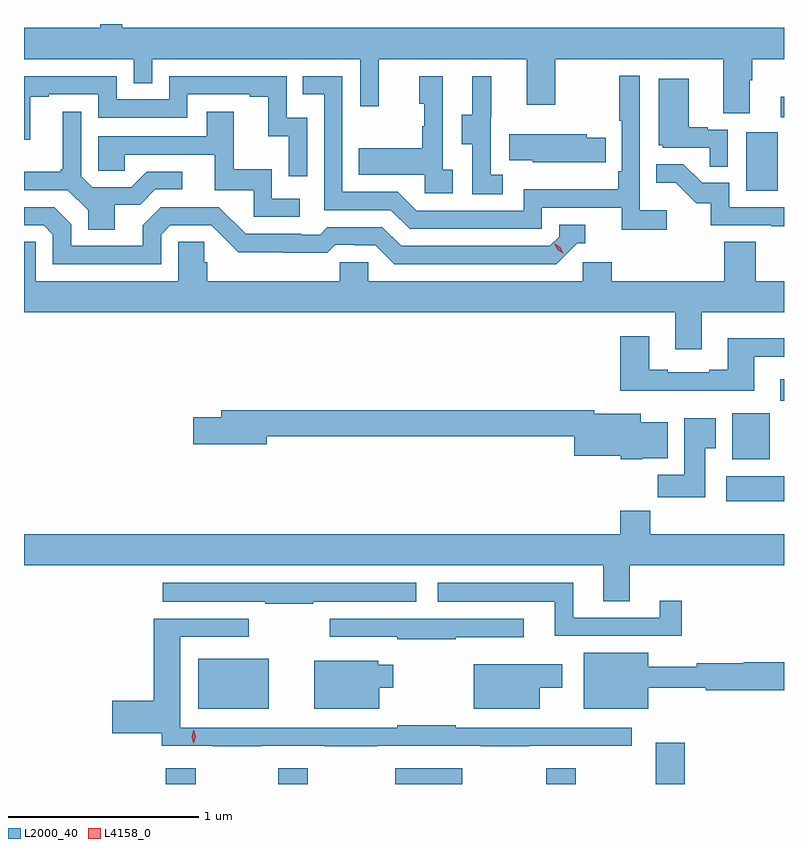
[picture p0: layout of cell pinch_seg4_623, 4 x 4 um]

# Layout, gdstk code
import gdstk
lib = gdstk.Library(unit=1e-6, precision=1e-09)
def R(c, l, rs):  # rectangles x0, y0, x1, y1
    for r in rs: c.add(gdstk.rectangle(r[:2], r[2:], *l))
def P(c, l, *ps):  # polygons
    for p in ps: c.add(gdstk.Polygon(p, *l))
L2000_40 = (2000, 40)
L4158_0 = (4158, 0)

pinch_seg4_623 = lib.new_cell('pinch_seg4_623')
R(pinch_seg4_623, L2000_40, [(1036.097,762.369,1036.257,762.451), (1036.69,762.369,1036.845,762.451), (1037.306,762.369,1037.659,762.451), (1038.1,762.369,1038.255,762.451), (1038.677,762.369,1038.83,762.586), (1036.268,762.764,1036.639,763.027), (1039.047,763.856,1039.352,763.99), (1039.079,764.078,1039.276,764.32), (1039.331,764.387,1039.352,764.5), (1039.154,765.492,1039.318,765.799), (1039.335,765.879,1039.352,765.985)])
P(pinch_seg4_623, L2000_40, [(1039.171,766.072),(1039.184,766.072),(1039.184,766.184),(1039.352,766.184),(1039.352,766.348),(1035.869,766.348),(1035.869,766.369),(1035.752,766.369),(1035.752,766.348),(1035.352,766.348),(1035.352,766.184),(1035.93,766.184),(1035.93,766.057),(1036.026,766.057),(1036.026,766.184),(1037.121,766.184),(1037.121,765.936),(1037.219,765.936),(1037.219,766.184),(1037.999,766.184),(1037.999,765.945),(1038.147,765.945),(1038.147,766.184),(1039.031,766.184),(1039.031,765.898),(1039.171,765.898)],
  [(1038.736,765.388),(1038.594,765.388),(1038.594,766.096),(1038.486,766.096),(1038.486,765.859),(1038.498,765.859),(1038.498,765.595),(1038.48,765.595),(1038.48,765.499),(1037.982,765.499),(1037.982,765.387),(1037.418,765.387),(1037.319,765.486),(1037.028,765.486),(1037.028,766.095),(1036.819,766.095),(1036.819,765.999),(1036.932,765.999),(1036.932,765.39),(1037.282,765.39),(1037.381,765.291),(1038.078,765.291),(1038.078,765.402),(1038.497,765.402),(1038.497,765.286),(1038.736,765.286)],
  [(1036.842,765.876),(1036.734,765.876),(1036.734,766.095),(1036.116,766.095),(1036.116,765.972),(1035.84,765.972),(1035.84,766.095),(1035.352,766.095),(1035.352,765.761),(1035.385,765.761),(1035.385,765.987),(1035.481,765.987),(1035.481,765.999),(1035.744,765.999),(1035.744,765.876),(1036.212,765.876),(1036.212,765.999),(1036.541,765.999),(1036.541,765.987),(1036.637,765.987),(1036.637,765.779),(1036.746,765.779),(1036.746,765.567),(1036.842,765.567)],
  [(1037.608,765.602),(1037.556,765.602),(1037.556,766.093),(1037.432,766.093),(1037.432,765.948),(1037.458,765.948),(1037.458,765.83),(1037.448,765.83),(1037.448,765.715),(1037.113,765.715),(1037.113,765.575),(1037.46,765.575),(1037.46,765.477),(1037.608,765.477)],
  [(1037.872,765.575),(1037.808,765.575),(1037.808,765.879),(1037.81,765.879),(1037.81,766.093),(1037.711,766.093),(1037.711,765.891),(1037.657,765.891),(1037.657,765.736),(1037.712,765.736),(1037.712,765.472),(1037.872,765.472)],
  [(1039.056,765.813),(1038.95,765.813),(1038.95,765.826),(1038.85,765.826),(1038.85,766.081),(1038.692,766.081),(1038.692,765.732),(1038.714,765.732),(1038.714,765.717),(1038.961,765.717),(1038.961,765.619),(1039.056,765.619)],
  [(1035.829,765.418),(1035.964,765.418),(1036.044,765.498),(1036.186,765.498),(1036.186,765.591),(1035.998,765.591),(1035.917,765.51),(1035.711,765.51),(1035.654,765.567),(1035.654,765.907),(1035.557,765.907),(1035.557,765.604),(1035.546,765.604),(1035.546,765.592),(1035.352,765.592),(1035.352,765.495),(1035.582,765.495),(1035.689,765.388),(1035.689,765.286),(1035.829,765.286)],
  [(1036.804,765.45),(1036.656,765.45),(1036.656,765.604),(1036.457,765.604),(1036.457,765.907),(1036.313,765.907),(1036.313,765.777),(1035.744,765.777),(1035.744,765.597),(1035.881,765.597),(1035.881,765.681),(1036.355,765.681),(1036.355,765.495),(1036.56,765.495),(1036.56,765.354),(1036.804,765.354)],
  [(1038.413,765.771),(1038.315,765.771),(1038.315,765.79),(1037.905,765.79),(1037.905,765.653),(1038.03,765.653),(1038.03,765.641),(1038.413,765.641)],
  [(1039.352,765.405),(1039.065,765.405),(1039.065,765.534),(1038.921,765.534),(1038.823,765.632),(1038.679,765.632),(1038.679,765.533),(1038.783,765.533),(1038.89,765.426),(1038.967,765.426),(1038.967,765.309),(1039.285,765.309),(1039.285,765.304),(1039.352,765.304)],
  [(1036.074,765.261),(1036.122,765.309),(1036.338,765.309),(1036.48,765.167),(1036.716,765.167),(1036.716,765.165),(1036.949,765.165),(1036.991,765.207),(1037.094,765.207),(1037.094,765.204),(1037.201,765.204),(1037.3,765.105),(1038.153,765.105),(1038.264,765.216),(1038.307,765.216),(1038.307,765.312),(1038.168,765.312),(1038.168,765.249),(1038.12,765.201),(1037.337,765.201),(1037.238,765.3),(1036.949,765.3),(1036.91,765.261),(1036.811,765.261),(1036.811,765.264),(1036.518,765.264),(1036.377,765.405),(1036.071,765.405),(1035.977,765.311),(1035.977,765.201),(1035.6,765.201),(1035.6,765.315),(1035.51,765.405),(1035.352,765.405),(1035.352,765.309),(1035.456,765.309),(1035.504,765.261),(1035.504,765.105),(1036.074,765.105)],
  [(1038.919,764.852),(1039.352,764.852),(1039.352,765.016),(1039.202,765.016),(1039.202,765.224),(1039.037,765.224),(1039.037,765.016),(1038.446,765.016),(1038.446,765.114),(1038.294,765.114),(1038.294,765.016),(1037.163,765.016),(1037.163,765.114),(1037.013,765.114),(1037.013,765.016),(1036.316,765.016),(1036.316,765.114),(1036.301,765.114),(1036.301,765.224),(1036.164,765.224),(1036.164,765.016),(1035.414,765.016),(1035.414,765.224),(1035.352,765.224),(1035.352,764.852),(1038.779,764.852),(1038.779,764.658),(1038.919,764.658)],
  [(1039.195,764.619),(1039.352,764.619),(1039.352,764.716),(1039.055,764.716),(1039.055,764.548),(1038.959,764.548),(1038.959,764.535),(1038.739,764.535),(1038.739,764.548),(1038.643,764.548),(1038.643,764.725),(1038.491,764.725),(1038.491,764.438),(1039.195,764.438)],
  [(1038.606,764.084),(1038.739,764.084),(1038.739,764.272),(1038.598,764.272),(1038.598,764.317),(1038.352,764.317),(1038.352,764.336),(1036.391,764.336),(1036.391,764.3),(1036.242,764.3),(1036.242,764.158),(1036.63,764.158),(1036.63,764.2),(1038.248,764.2),(1038.248,764.096),(1038.492,764.096),(1038.492,764.078),(1038.606,764.078)],
  [(1038.937,764.137),(1038.994,764.137),(1038.994,764.293),(1038.827,764.293),(1038.827,763.996),(1038.688,763.996),(1038.688,763.878),(1038.937,763.878)],
  [(1038.541,763.52),(1039.352,763.52),(1039.352,763.684),(1038.647,763.684),(1038.647,763.808),(1038.491,763.808),(1038.491,763.684),(1035.352,763.684),(1035.352,763.52),(1038.401,763.52),(1038.401,763.33),(1038.541,763.33)],
  [(1038.815,763.333),(1038.698,763.333),(1038.698,763.245),(1038.244,763.245),(1038.244,763.429),(1037.529,763.429),(1037.529,763.328),(1038.146,763.328),(1038.146,763.149),(1038.815,763.149)],
  [(1036.874,763.328),(1037.416,763.328),(1037.416,763.429),(1036.083,763.429),(1036.083,763.328),(1036.621,763.328),(1036.621,763.318),(1036.874,763.318)],
  [(1036.601,762.57),(1036.933,762.57),(1036.933,762.569),(1037.21,762.569),(1037.21,762.57),(1037.755,762.57),(1037.755,762.569),(1038.011,762.569),(1038.011,762.57),(1038.55,762.57),(1038.55,762.666),(1037.624,762.666),(1037.624,762.679),(1037.317,762.679),(1037.317,762.666),(1036.174,762.666),(1036.174,763.143),(1036.534,763.143),(1036.534,763.239),(1036.034,763.239),(1036.034,762.806),(1035.816,762.806),(1035.816,762.635),(1036.077,762.635),(1036.077,762.57),(1036.345,762.57),(1036.345,762.569),(1036.601,762.569)],
  [(1037.624,763.142),(1037.983,763.142),(1037.983,763.239),(1036.962,763.239),(1036.962,763.143),(1037.317,763.143),(1037.317,763.131),(1037.624,763.131)],
  [(1038.637,762.876),(1038.94,762.876),(1038.94,762.863),(1039.352,762.863),(1039.352,763.01),(1039.14,763.01),(1039.14,763.004),(1038.892,763.004),(1038.892,762.985),(1038.637,762.985),(1038.637,763.06),(1038.299,763.06),(1038.299,762.764),(1038.637,762.764)],
  [(1037.221,762.875),(1037.296,762.875),(1037.296,762.997),(1037.217,762.997),(1037.217,763.018),(1036.88,763.018),(1036.88,762.764),(1037.221,762.764)],
  [(1038.067,762.875),(1038.184,762.875),(1038.184,763),(1037.72,763),(1037.72,762.764),(1038.067,762.764)])
P(pinch_seg4_623, L4158_0, [(1038.19,765.162),(1038.16,765.182),(1038.144,765.215),(1038.144,765.215),(1038.144,765.215),(1038.174,765.195),(1038.19,765.162),(1038.19,765.162)],
  [(1036.245,762.583),(1036.236,762.618),(1036.245,762.654),(1036.246,762.654),(1036.246,762.654),(1036.256,762.618),(1036.246,762.583),(1036.246,762.583)])

lib.write_gds('pinch_seg4_623.gds')
